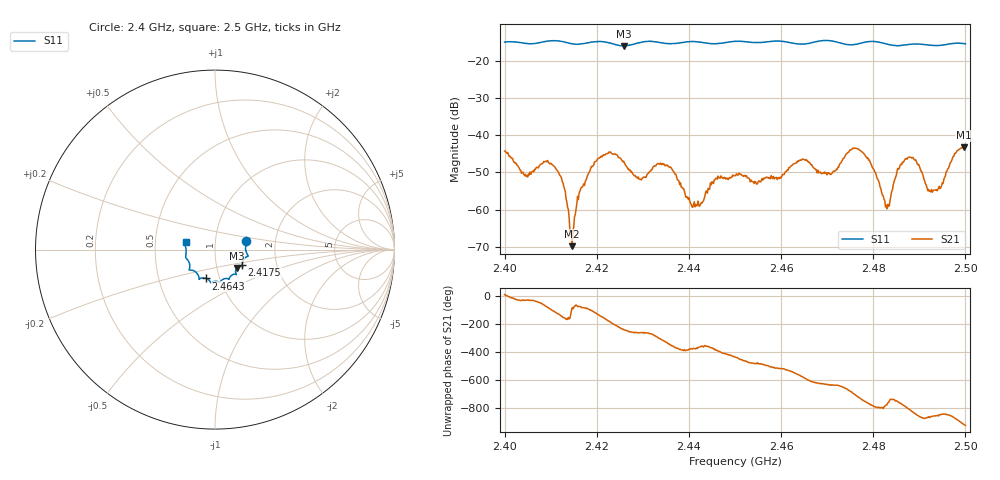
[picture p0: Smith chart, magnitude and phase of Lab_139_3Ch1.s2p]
# Hz S RI R 50
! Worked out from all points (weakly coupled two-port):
!   601 points, 2.4 GHz to 2.5 GHz, reference 50 ohm
!   highest |S21| = -43.22 dB at 2.4997 GHz (marker M1); lowest = -69.8 dB at 2.4147 GHz (marker M2)
!   lowest |S11| = -15.9 dB at 2.4258 GHz (marker M3), VSWR 1.38, Z = 62.3 - j13.1 ohm
!   |S11| at or under -10 dB: start of sweep to end of sweep
!   S12 and S22 are empty: the file has one direction only
!   S11 on the Smith chart (normalised r, x): 2.4 GHz: 1.41, +0.14; 2.4175 GHz: 1.33, -0.23; 2.4643 GHz: 0.86, -0.28; 2.5 GHz: 0.72, +0.06
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2.4e9  0.173 0.0484  0.00597 0.00146  0 0  0 0
2.404667e9  0.1709 0.019  0.00252 -0.0012  0 0  0 0
2.410667e9  0.1839 -0.0353  -0.000978 -0.00373  0 0  0 0
2.412667e9  0.1772 -0.0395  -0.00201 -0.00109  0 0  0 0
2.414667e9  0.1619 -0.0519  5.56e-05 -0.000318  0 0  0 0
2.416667e9  0.1524 -0.074  0.000332 -0.00197  0 0  0 0
2.4175e9  0.1514 -0.0837  0.00032 -0.00238  0 0  0 0
2.421833e9  0.1527 -0.0956  -0.00517 -0.00179  0 0  0 0
2.425833e9  0.1219 -0.1028  -0.0024 0.00381  0 0  0 0
2.429333e9  0.1161 -0.1339  -0.000458 0.00252  0 0  0 0
2.433333e9  0.1136 -0.1375  0.00197 0.00369  0 0  0 0
2.441167e9  0.0767 -0.1659  0.00124 -0.000298  0 0  0 0
2.45e9  0.0286 -0.1814  0.000755 -0.00275  0 0  0 0
2.464333e9  -0.0498 -0.1607  -0.0039 0.00248  0 0  0 0
2.466667e9  -0.0763 -0.1587  -0.00129 0.00381  0 0  0 0
2.471e9  -0.0882 -0.1634  0.000228 0.00306  0 0  0 0
2.476667e9  -0.1235 -0.1163  0.0066 7.41e-05  0 0  0 0
2.483333e9  -0.1404 -0.0899  0.000834 -0.000722  0 0  0 0
2.487333e9  -0.157 -0.0526  0.000927 -0.00468  0 0  0 0
2.493333e9  -0.1607 -0.0103  -0.00133 -0.00127  0 0  0 0
2.499667e9  -0.1664 0.0413  -0.00658 0.00209  0 0  0 0
2.5e9  -0.1643 0.0432  -0.00611 0.00289  0 0  0 0
